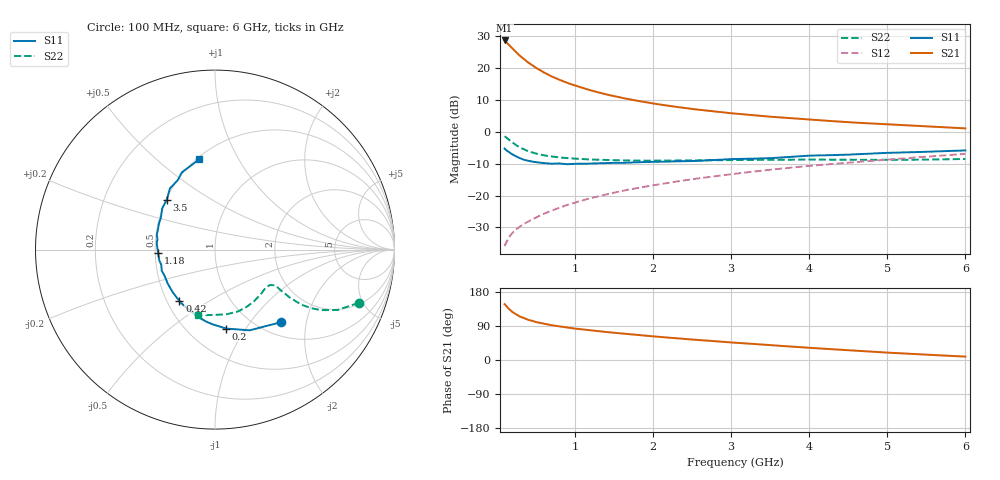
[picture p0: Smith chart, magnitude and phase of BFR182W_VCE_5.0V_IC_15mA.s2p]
! Infineon Technologies  Discrete & RF Semiconductors
! BFR182W
! VCE =  5.0 V,  IC =  15 mA
! Common Emitter S-Parameters:  Nov 2015
# GHz  S  MA  R  50
!  f  S11  S21  S12  S22
! GHz  MAG  ANG  MAG  ANG  MAG  ANG  MAG  ANG
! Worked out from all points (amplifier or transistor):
!   192 points, 100 MHz to 6 GHz, reference 50 ohm
!   highest |S21| = 28.7 dB at 100 MHz (marker M1)
!   |S21| within 3 dB of that: start of sweep to 220 MHz
!   unconditionally stable (mu >= 1): 862.8 MHz to 2.702 GHz
!   at 440 MHz: K = 0.81, MSG = 24.4 dB, |S12| = -27.6 dB
!   at 1.7 GHz: K = 1.05, MAG = 12.8 dB, |S12| = -18.1 dB
!   at 6 GHz: K = 0.79, MSG = 4.0 dB, |S12| = -6.9 dB
!   S11 on the Smith chart (normalised r, x): 100 MHz: 1.24, -1.43; 200 MHz: 0.75, -0.82; 420 MHz: 0.58, -0.38; 1.18 GHz: 0.52, -0.02; 3.5 GHz: 0.50, +0.33; 6 GHz: 0.51, +0.70
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0.1  0.5463 -47.8  27.11 147.3  0.0161 71.6  0.8539 -20.3
0.15  0.4893 -66.8  23.5 135.5  0.0217 66.9  0.7617 -26.2
0.2  0.4444 -82.0  20.3 126.4  0.026 64.3  0.6806 -29.7
0.24  0.4156 -92.2  18.13 121.1  0.029 63.2  0.6274 -31.3
0.26  0.4045 -96.9  17.16 118.6  0.0304 62.9  0.6046 -31.8
0.3  0.3846 -105.0  15.42 114.2  0.033 62.6  0.5664 -32.5
0.4  0.3528 -122.5  12.25 106.1  0.039 63.5  0.4972 -32.7
0.42  0.3481 -124.8  11.82 105.1  0.0403 63.8  0.4889 -32.6
0.5  0.3351 -134.4  10.12 100.3  0.0453 64.9  0.4555 -32.2
0.6  0.3244 -144.3  8.583 95.8  0.0517 66.3  0.428 -31.7
0.7  0.3167 -152.0  7.421 91.8  0.058 67.4  0.4102 -31.2
0.9  0.311 -164.1  5.859 85.7  0.0711 69.0  0.3869 -31.0
1.1  0.3163 -173.6  4.895 80.8  0.0843 69.9  0.3741 -31.8
1.18  0.3175 -177.0  4.557 78.7  0.0897 70.1  0.3692 -32.2
1.6  0.3258 169.7  3.418 69.8  0.118 70.5  0.3567 -35.2
2.08  0.3394 158.6  2.691 61.1  0.1506 69.8  0.3536 -40.6
2.5  0.3475 150.6  2.281 54.0  0.1803 68.7  0.3562 -45.6
3.1  0.3756 140.2  1.91 45.0  0.2238 66.4  0.3611 -54.7
3.5  0.3861 134.1  1.727 39.1  0.2545 64.6  0.3647 -61.2
4.1  0.4257 124.7  1.53 30.9  0.2993 61.0  0.3665 -71.6
5.1  0.4711 111.8  1.294 18.4  0.3744 55.0  0.3638 -90.0
6  0.5113 99.8  1.133 9.0  0.4513 49.5  0.3757 -104.5
